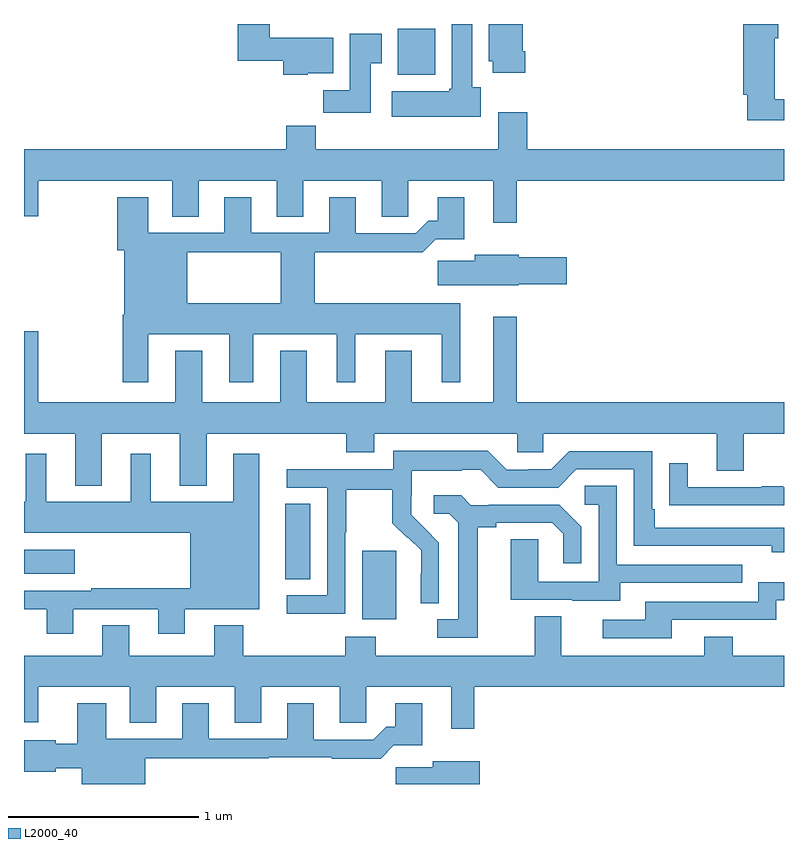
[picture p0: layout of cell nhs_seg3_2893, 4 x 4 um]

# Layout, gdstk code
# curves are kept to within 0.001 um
import gdstk
lib = gdstk.Library(unit=1e-6, precision=1e-09)
def R(c, l, rs):  # rectangles x0, y0, x1, y1
    for r in rs: c.add(gdstk.rectangle(r[:2], r[2:], *l))
def P(c, l, *ps):  # polygons
    for p in ps: c.add(gdstk.Polygon(p, *l))
L2000_40 = (2000, 40)

nhs_seg3_2893 = lib.new_cell('nhs_seg3_2893')
R(nhs_seg3_2893, L2000_40, [(262.781,705.266,262.96,705.627), (262.376,705.478,262.507,705.875), (261,705.506,261.268,705.634), (262.967,708.134,263.164,708.376)])
P(nhs_seg3_2893, L2000_40, [(263.404,708.066),(263.359,708.066),(263.359,708.4),(263.252,708.4),(263.252,708.06),(263.239,708.06),(263.239,708.046),(262.935,708.046),(262.935,707.912),(263.404,707.912)],
  [(265,708.004),(264.952,708.004),(264.952,708.326),(264.971,708.326),(264.971,708.4),(264.785,708.4),(264.785,708.027),(264.806,708.027),(264.806,707.894),(265,707.894)],
  [(262.494,708.14),(262.627,708.14),(262.627,708.328),(262.294,708.328),(262.294,708.4),(262.124,708.4),(262.124,708.206),(262.364,708.206),(262.364,708.134),(262.494,708.134)],
  [(263.639,708.256),(263.626,708.256),(263.626,708.4),(263.447,708.4),(263.447,708.204),(263.468,708.204),(263.468,708.144),(263.639,708.144)],
  [(262.825,708.193),(262.882,708.193),(262.882,708.349),(262.715,708.349),(262.715,708.052),(262.576,708.052),(262.576,707.934),(262.825,707.934)],
  [(263.593,707.576),(265,707.576),(265,707.74),(263.648,707.74),(263.648,707.935),(263.495,707.935),(263.495,707.74),(262.535,707.74),(262.535,707.864),(262.379,707.864),(262.379,707.74),(261,707.74),(261,707.388),(261.076,707.388),(261.076,707.576),(261.779,707.576),(261.779,707.386),(261.919,707.386),(261.919,707.576),(262.331,707.576),(262.331,707.386),(262.471,707.386),(262.471,707.576),(262.883,707.576),(262.883,707.386),(263.022,707.386),(263.022,707.576),(263.471,707.576),(263.471,707.355),(263.593,707.355)],
  [(261.52,706.87),(261.52,706.515),(261.655,706.515),(261.655,706.766),(262.079,706.766),(262.079,706.515),(262.207,706.515),(262.207,706.766),(262.646,706.766),(262.646,706.515),(262.744,706.515),(262.744,706.766),(263.198,706.766),(263.198,706.515),(263.296,706.515),(263.296,706.93),(262.529,706.93),(262.529,707.2),(262.843,707.2),(262.843,707.198),(263.099,707.198),(263.168,707.267),(263.317,707.267),(263.317,707.488),(263.177,707.488),(263.177,707.365),(263.128,707.365),(263.061,707.298),(262.747,707.298),(262.747,707.488),(262.607,707.488),(262.607,707.301),(262.195,707.301),(262.195,707.488),(262.055,707.488),(262.055,707.301),(261.655,707.301),(261.655,707.488),(261.491,707.488),(261.491,707.208),(261.527,707.208),(261.527,706.93),(261.859,706.93),(261.859,707.2),(262.351,707.2),(262.351,706.93),(261.527,706.93),(261.527,706.87)],
  [(263.604,707.03),(263.857,707.03),(263.857,707.172),(263.604,707.172),(263.604,707.185),(263.372,707.185),(263.372,707.153),(263.178,707.153),(263.178,707.024),(263.604,707.024)],
  [(261.409,706.244),(261.821,706.244),(261.821,705.971),(261.961,705.971),(261.961,706.244),(262.696,706.244),(262.696,706.145),(262.843,706.145),(262.843,706.244),(263.595,706.244),(263.595,706.146),(263.733,706.146),(263.733,706.244),(264.647,706.244),(264.647,706.05),(264.787,706.05),(264.787,706.244),(265,706.244),(265,706.408),(263.593,706.408),(263.593,706.858),(263.471,706.858),(263.471,706.408),(263.041,706.408),(263.041,706.681),(262.901,706.681),(262.901,706.408),(262.489,706.408),(262.489,706.681),(262.349,706.681),(262.349,706.408),(261.937,706.408),(261.937,706.681),(261.797,706.681),(261.797,706.408),(261.076,706.408),(261.076,706.783),(261,706.783),(261,706.244),(261.269,706.244),(261.269,705.971),(261.409,705.971)],
  [(262.692,705.724),(262.695,705.724),(262.695,705.948),(262.939,705.948),(262.939,705.773),(263.016,705.696),(263.019,705.699),(263.09,705.629),(263.09,705.506),(263.088,705.506),(263.088,705.352),(263.184,705.352),(263.184,705.67),(263.038,705.818),(263.038,705.915),(263.04,705.915),(263.04,706.049),(263.303,706.049),(263.303,706.053),(263.403,706.053),(263.496,705.96),(263.811,705.96),(263.907,706.056),(264.21,706.056),(264.21,705.654),(264.935,705.654),(264.935,705.62),(265,705.62),(265,705.75),(264.319,705.75),(264.319,705.847),(264.306,705.847),(264.306,706.152),(263.871,706.152),(263.775,706.056),(263.657,706.056),(263.657,706.053),(263.541,706.053),(263.441,706.153),(262.944,706.153),(262.944,706.056),(262.383,706.056),(262.383,705.96),(262.596,705.96),(262.596,705.393),(262.383,705.393),(262.383,705.295),(262.692,705.295)],
  [(261.259,705.321),(261.707,705.321),(261.707,705.192),(261.847,705.192),(261.847,705.32),(262.237,705.32),(262.237,706.138),(262.1,706.138),(262.1,705.886),(261.667,705.886),(261.667,706.138),(261.563,706.138),(261.563,705.886),(261.118,705.886),(261.118,706.138),(261.008,706.138),(261.008,705.886),(261,705.886),(261,705.722),(261.875,705.722),(261.875,705.43),(261.355,705.43),(261.355,705.417),(261,705.417),(261,705.321),(261.119,705.321),(261.119,705.192),(261.259,705.192)],
  [(265,705.963),(264.995,705.963),(264.995,705.968),(264.883,705.968),(264.883,705.963),(264.493,705.963),(264.493,706.087),(264.397,706.087),(264.397,705.868),(264.499,705.868),(264.499,705.867),(265,705.867)],
  [(264.139,705.459),(264.779,705.459),(264.779,705.555),(264.12,705.555),(264.12,705.971),(263.952,705.971),(263.952,705.87),(264.024,705.87),(264.024,705.465),(263.706,705.465),(263.706,705.689),(263.561,705.689),(263.561,705.369),(263.885,705.369),(263.885,705.365),(264.139,705.365)],
  [(263.389,705.752),(263.485,705.752),(263.485,705.774),(263.78,705.774),(263.837,705.717),(263.837,705.561),(263.934,705.561),(263.934,705.754),(263.818,705.87),(263.446,705.87),(263.446,705.867),(263.352,705.867),(263.3,705.919),(263.157,705.919),(263.157,705.822),(263.238,705.822),(263.285,705.775),(263.285,705.267),(263.175,705.267),(263.175,705.171),(263.389,705.171)],
  [(264.409,705.264),(264.96,705.264),(264.96,705.366),(265,705.366),(265,705.463),(264.864,705.463),(264.864,705.36),(264.269,705.36),(264.269,705.264),(264.045,705.264),(264.045,705.168),(264.409,705.168)],
  [(263.371,704.912),(265,704.912),(265,705.076),(264.729,705.076),(264.729,705.175),(264.581,705.175),(264.581,705.076),(263.827,705.076),(263.827,705.284),(263.687,705.284),(263.687,705.076),(262.851,705.076),(262.851,705.175),(262.691,705.175),(262.691,705.076),(262.154,705.076),(262.154,705.235),(262.001,705.235),(262.001,705.076),(261.553,705.076),(261.553,705.236),(261.413,705.236),(261.413,705.076),(261,705.076),(261,704.724),(261.076,704.724),(261.076,704.912),(261.557,704.912),(261.557,704.722),(261.697,704.722),(261.697,704.912),(262.109,704.912),(262.109,704.722),(262.249,704.722),(262.249,704.912),(262.661,704.912),(262.661,704.722),(262.8,704.722),(262.8,704.912),(263.249,704.912),(263.249,704.691),(263.371,704.691)],
  [(261.637,704.536),(262.289,704.536),(262.289,704.54),(262.621,704.54),(262.621,704.534),(262.877,704.534),(262.946,704.603),(263.095,704.603),(263.095,704.824),(262.955,704.824),(262.955,704.701),(262.906,704.701),(262.839,704.634),(262.525,704.634),(262.525,704.824),(262.385,704.824),(262.385,704.637),(261.973,704.637),(261.973,704.824),(261.833,704.824),(261.833,704.637),(261.433,704.637),(261.433,704.824),(261.281,704.824),(261.281,704.611),(261.166,704.611),(261.166,704.629),(261,704.629),(261,704.464),(261.166,704.464),(261.166,704.482),(261.305,704.482),(261.305,704.4),(261.637,704.4)],
  [(263.399,704.521),(263.15,704.521),(263.15,704.489),(262.956,704.489),(262.956,704.4),(263.399,704.4)])

lib.write_gds('nhs_seg3_2893.gds')
